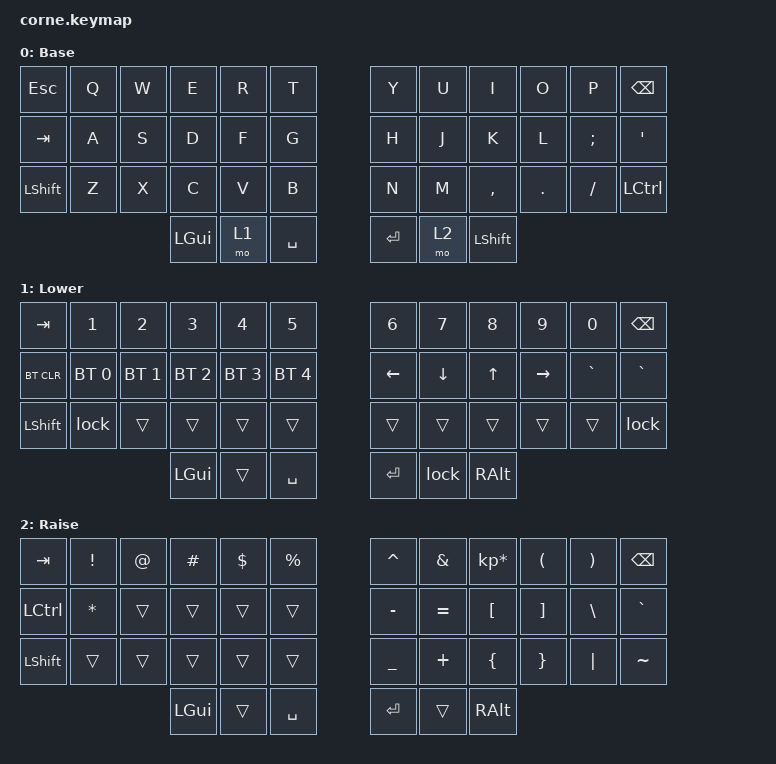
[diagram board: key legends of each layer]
/*
 * Copyright (c) 2020 The ZMK Contributors
 *
 * SPDX-License-Identifier: MIT
 */

#include <behaviors.dtsi>
#include <dt-bindings/zmk/bt.h>
#include <dt-bindings/zmk/keys.h>

/ {
    macros {
        lock: lock {
            compatible = "zmk,behavior-macro";
            label = "LOCK";
            #binding-cells = <0>;
            bindings = <&kp LG(LC(Q))>;
        };
    };

    keymap {
        compatible = "zmk,keymap";

        default_layer {
            // -----------------------------------------------------------------------------------------
            // |  TAB |  Q  |  W  |  E  |  R  |  T  |   |  Y  |  U   |  I  |  O  |  P  | BKSP |
            // | CTRL |  A  |  S  |  D  |  F  |  G  |   |  H  |  J   |  K  |  L  |  ;  |  '   |
            // | SHFT |  Z  |  X  |  C  |  V  |  B  |   |  N  |  M   |  ,  |  .  |  /  | ESC  |
            //                    | GUI | LWR | SPC |   | ENT | RSE  | ALT |

            label = "Base";
            bindings = <
&kp ESC    &kp Q  &kp W  &kp E     &kp R  &kp T        &kp Y    &kp U  &kp I           &kp O    &kp P     &kp BSPC
&kp TAB    &kp A  &kp S  &kp D     &kp F  &kp G        &kp H    &kp J  &kp K           &kp L    &kp SEMI  &kp SQT
&kp LSHFT  &kp Z  &kp X  &kp C     &kp V  &kp B        &kp N    &kp M  &kp COMMA       &kp DOT  &kp FSLH  &kp LEFT_CONTROL
                         &kp LGUI  &mo 1  &kp SPACE    &kp RET  &mo 2  &kp LEFT_SHIFT
            >;
        };

        lower_layer {
            // -----------------------------------------------------------------------------------------
            // |  TAB |  1  |  2  |  3  |  4  |  5  |   |  6  |  7  |  8  |  9  |  0  | BKSP |
            // | BTCLR| BT1 | BT2 | BT3 | BT4 | BT5 |   | LFT | DWN |  UP | RGT |     |      |
            // | SHFT |     |     |     |     |     |   |     |     |     |     |     |      |
            //                    | GUI |     | SPC |   | ENT |     | ALT |

            label = "Lower";
            bindings = <
&kp TAB     &kp N1        &kp N2        &kp N3        &kp N4        &kp N5          &kp N6    &kp N7    &kp N8    &kp N9     &kp N0     &kp BSPC
&bt BT_CLR  &bt BT_SEL 0  &bt BT_SEL 1  &bt BT_SEL 2  &bt BT_SEL 3  &bt BT_SEL 4    &kp LEFT  &kp DOWN  &kp UP    &kp RIGHT  &kp GRAVE  &kp GRAVE
&kp LSHFT   &lock         &trans        &trans        &trans        &trans          &trans    &trans    &trans    &trans     &trans     &lock
                                        &kp LGUI      &trans        &kp SPACE       &kp RET   &lock     &kp RALT
            >;
        };

        raise_layer {
            // -----------------------------------------------------------------------------------------
            // |  TAB |  !  |  @  |  #  |  $  |  %  |   |  ^  |  &  |  *  |  (  |  )  | BKSP |
            // | CTRL |     |     |     |     |     |   |  -  |  =  |  [  |  ]  |  \  |  `   |
            // | SHFT |     |     |     |     |     |   |  _  |  +  |  {  |  }  | "|" |  ~   |
            //                    | GUI |     | SPC |   | ENT |     | ALT |

            label = "Raise";
            bindings = <
&kp TAB    &kp EXCL      &kp AT  &kp HASH  &kp DLLR  &kp PRCNT    &kp CARET  &kp AMPS   &kp KP_MULTIPLY  &kp LPAR  &kp RPAR  &kp BSPC
&kp LCTRL  &kp ASTERISK  &trans  &trans    &trans    &trans       &kp MINUS  &kp EQUAL  &kp LBKT         &kp RBKT  &kp BSLH  &kp GRAVE
&kp LSHFT  &trans        &trans  &trans    &trans    &trans       &kp UNDER  &kp PLUS   &kp LBRC         &kp RBRC  &kp PIPE  &kp TILDE
                                 &kp LGUI  &trans    &kp SPACE    &kp RET    &trans     &kp RALT
            >;
        };
    };
};
